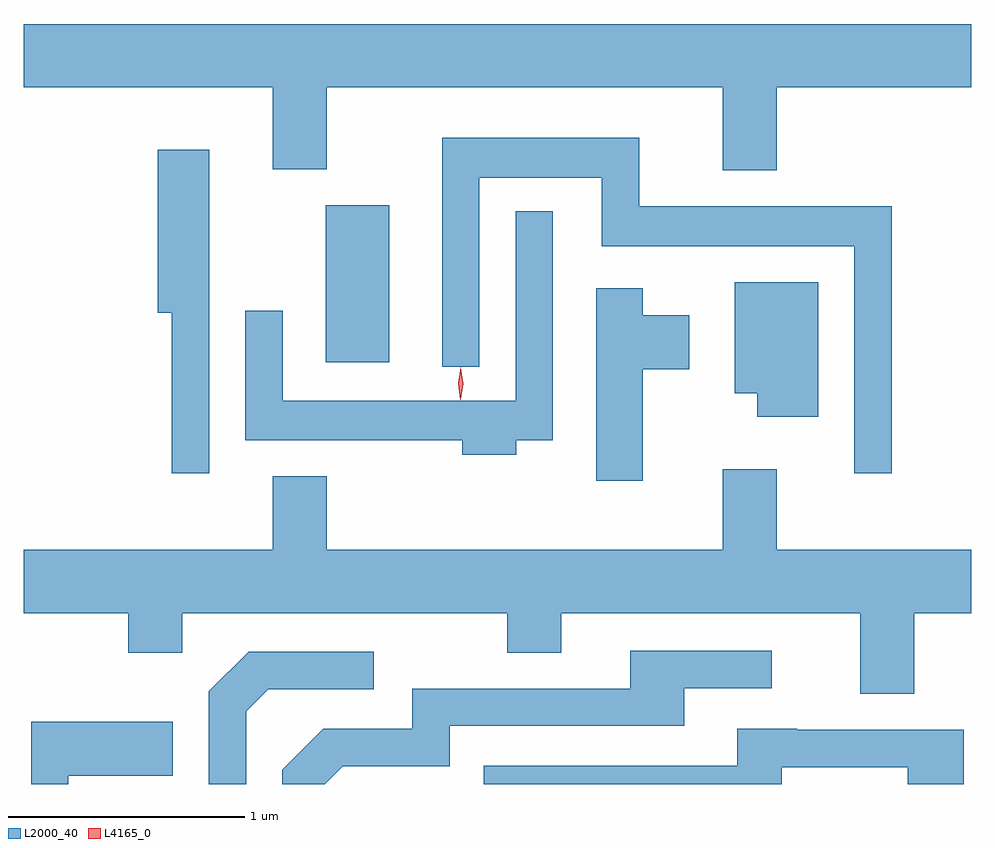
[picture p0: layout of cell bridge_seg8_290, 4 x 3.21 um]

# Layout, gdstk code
import gdstk
lib = gdstk.Library(unit=1e-6, precision=1e-09)
def R(c, l, rs):  # rectangles x0, y0, x1, y1
    for r in rs: c.add(gdstk.rectangle(r[:2], r[2:], *l))
def P(c, l, *ps):  # polygons
    for p in ps: c.add(gdstk.Polygon(p, *l))
L2000_40 = (2000, 40)
L4165_0 = (4165, 0)

bridge_seg8_290 = lib.new_cell('bridge_seg8_290')
R(bridge_seg8_290, L2000_40, [(1405.556,1815.276,1405.824,1815.939)])
P(bridge_seg8_290, L2000_40, [(1407.459,1816.436),(1408.28,1816.436),(1408.28,1816.704),(1404.28,1816.704),(1404.28,1816.436),(1405.331,1816.436),(1405.331,1816.091),(1405.559,1816.091),(1405.559,1816.436),(1407.231,1816.436),(1407.231,1816.086),(1407.459,1816.086)],
  [(1407.944,1815.934),(1406.879,1815.934),(1406.879,1816.224),(1406.046,1816.224),(1406.046,1815.258),(1406.204,1815.258),(1406.204,1816.056),(1406.721,1816.056),(1406.721,1815.766),(1407.786,1815.766),(1407.786,1814.808),(1407.944,1814.808)],
  [(1405.064,1816.174),(1404.846,1816.174),(1404.846,1815.486),(1404.906,1815.486),(1404.906,1814.808),(1405.064,1814.808)],
  [(1406.359,1814.946),(1406.514,1814.946),(1406.514,1815.913),(1406.356,1815.913),(1406.356,1815.114),(1405.374,1815.114),(1405.374,1815.493),(1405.216,1815.493),(1405.216,1814.946),(1406.131,1814.946),(1406.131,1814.886),(1406.359,1814.886)],
  [(1407.634,1815.614),(1407.281,1815.614),(1407.281,1815.146),(1407.376,1815.146),(1407.376,1815.046),(1407.634,1815.046)],
  [(1406.894,1815.246),(1407.089,1815.246),(1407.089,1815.474),(1406.894,1815.474),(1406.894,1815.589),(1406.696,1815.589),(1406.696,1814.776),(1406.894,1814.776)],
  [(1408.039,1814.216),(1408.28,1814.216),(1408.28,1814.484),(1407.459,1814.484),(1407.459,1814.824),(1407.231,1814.824),(1407.231,1814.484),(1405.559,1814.484),(1405.559,1814.794),(1405.331,1814.794),(1405.331,1814.484),(1404.28,1814.484),(1404.28,1814.216),(1404.721,1814.216),(1404.721,1814.051),(1404.949,1814.051),(1404.949,1814.216),(1406.321,1814.216),(1406.321,1814.051),(1406.549,1814.051),(1406.549,1814.216),(1407.811,1814.216),(1407.811,1813.876),(1408.039,1813.876)],
  [(1405.627,1813.571),(1406.079,1813.571),(1406.079,1813.741),(1407.069,1813.741),(1407.069,1813.901),(1407.438,1813.901),(1407.438,1814.059),(1406.841,1814.059),(1406.841,1813.899),(1405.921,1813.899),(1405.921,1813.729),(1405.544,1813.729),(1405.371,1813.557),(1405.371,1813.496),(1405.551,1813.496)],
  [(1405.219,1813.804),(1405.312,1813.896),(1405.758,1813.896),(1405.758,1814.054),(1405.229,1814.054),(1405.061,1813.887),(1405.061,1813.496),(1405.219,1813.496)],
  [(1404.469,1813.531),(1404.909,1813.531),(1404.909,1813.759),(1404.311,1813.759),(1404.311,1813.496),(1404.469,1813.496)],
  [(1407.479,1813.566),(1408.011,1813.566),(1408.011,1813.496),(1408.249,1813.496),(1408.249,1813.724),(1407.545,1813.724),(1407.545,1813.729),(1407.291,1813.729),(1407.291,1813.574),(1406.223,1813.574),(1406.223,1813.496),(1407.479,1813.496)])
P(bridge_seg8_290, L4165_0, [(1406.123,1815.117),(1406.114,1815.187),(1406.124,1815.256),(1406.124,1815.256),(1406.125,1815.256),(1406.134,1815.186),(1406.124,1815.117),(1406.124,1815.117)],
  [(1406.125,1815.119),(1406.124,1815.12),(1406.115,1815.186),(1406.124,1815.252),(1406.125,1815.253),(1406.125,1815.252),(1406.135,1815.186),(1406.125,1815.12)])

lib.write_gds('bridge_seg8_290.gds')
